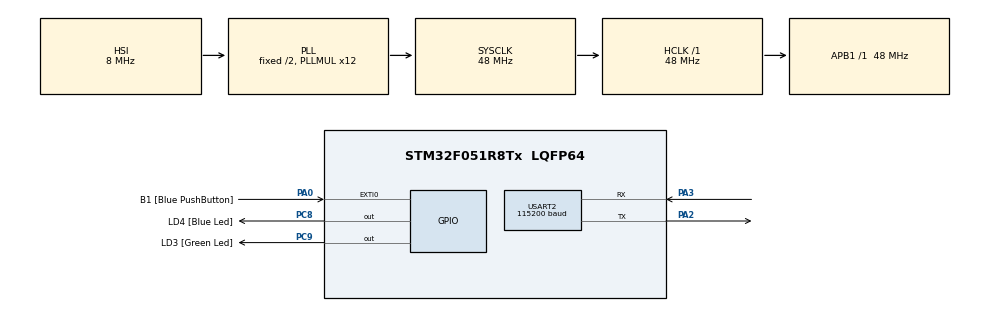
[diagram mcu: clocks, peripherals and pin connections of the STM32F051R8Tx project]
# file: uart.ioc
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Mcu.Family=STM32F0
Mcu.Name=STM32F051R8Tx
Mcu.Package=LQFP64
NVIC.USART2_IRQn=true\:0\:0\:false\:false\:true\:true
PA0.GPIO_Label=B1 [Blue PushButton]
PA0.GPIO_ModeDefaultEXTI=GPIO_MODE_EVT_RISING
PA0.Signal=GPXTI0
PA13.GPIO_Label=SWDIO
PA13.Mode=Serial_Wire
PA13.Signal=SYS_SWDIO
PA14.GPIO_Label=SWCLK
PA14.Mode=Serial_Wire
PA14.Signal=SYS_SWCLK
PA2.Mode=Asynchronous
PA2.Signal=USART2_TX
PA3.Mode=Asynchronous
PA3.Signal=USART2_RX
PC8.GPIO_Label=LD4 [Blue Led]
PC8.Signal=GPIO_Output
PC9.GPIO_Label=LD3 [Green Led]
PC9.Signal=GPIO_Output
ProjectManager.HeapSize=0x200
ProjectManager.StackSize=0x400
ProjectManager.TargetToolchain=SW4STM32
RCC.AHBFreq_Value=48000000
RCC.APB1Freq_Value=48000000
RCC.APB1TimFreq_Value=48000000
RCC.HCLKFreq_Value=48000000
RCC.PLLMUL=RCC_PLL_MUL12
RCC.SYSCLKFreq_VALUE=48000000
RCC.SYSCLKSource=RCC_SYSCLKSOURCE_PLLCLK
USART2.BaudRate=115200
USART2.VirtualMode-Asynchronous=VM_ASYNC
board=STM32F0DISCOVERY

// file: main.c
/**
 ******************************************************************************
 * @file           : main.c
 * @brief          : Main program body
 ******************************************************************************
 ** This notice applies to any and all portions of this file
 * that are not between comment pairs USER CODE BEGIN and
 * USER CODE END. Other portions of this file, whether
 * inserted by the user or by software development tools
 * are owned by their respective copyright owners.
 *
 * COPYRIGHT(c) 2018 STMicroelectronics
 *
 * Redistribution and use in source and binary forms, with or without modification,
 * are permitted provided that the following conditions are met:
 *   1. Redistributions of source code must retain the above copyright notice,
 *      this list of conditions and the following disclaimer.
 *   2. Redistributions in binary form must reproduce the above copyright notice,
 *      this list of conditions and the following disclaimer in the documentation
 *      and/or other materials provided with the distribution.
 *   3. Neither the name of STMicroelectronics nor the names of its contributors
 *      may be used to endorse or promote products derived from this software
 *      without specific prior written permission.
 *
 * THIS SOFTWARE IS PROVIDED BY THE COPYRIGHT HOLDERS AND CONTRIBUTORS "AS IS"
 * AND ANY EXPRESS OR IMPLIED WARRANTIES, INCLUDING, BUT NOT LIMITED TO, THE
 * IMPLIED WARRANTIES OF MERCHANTABILITY AND FITNESS FOR A PARTICULAR PURPOSE ARE
 * DISCLAIMED. IN NO EVENT SHALL THE COPYRIGHT HOLDER OR CONTRIBUTORS BE LIABLE
 * FOR ANY DIRECT, INDIRECT, INCIDENTAL, SPECIAL, EXEMPLARY, OR CONSEQUENTIAL
 * DAMAGES (INCLUDING, BUT NOT LIMITED TO, PROCUREMENT OF SUBSTITUTE GOODS OR
 * SERVICES; LOSS OF USE, DATA, OR PROFITS; OR BUSINESS INTERRUPTION) HOWEVER
 * CAUSED AND ON ANY THEORY OF LIABILITY, WHETHER IN CONTRACT, STRICT LIABILITY,
 * OR TORT (INCLUDING NEGLIGENCE OR OTHERWISE) ARISING IN ANY WAY OUT OF THE USE
 * OF THIS SOFTWARE, EVEN IF ADVISED OF THE POSSIBILITY OF SUCH DAMAGE.
 *
 ******************************************************************************
 */
#include "main.h"
#include "stm32f0xx_hal.h"
#include "usart.h"
#include "gpio.h"

/* USER CODE BEGIN Includes */
#include <string.h>
#include <stdio.h>
/* USER CODE END Includes */

/* USER CODE BEGIN PV */
/* Private variables ---------------------------------------------------------*/
char buffer[100];
int len;
char result_buffer[100];
char Rx_indx, Rx_data[2], Rx_Buffer[100], Transfer_cplt;
char cal_en[] = "\nCalculator Mode Enabled.";
char enter_num[] = "\nEnter a number: ";
char op[] = "Specify an operator(+,-,*,/,c); c to clear: ";
volatile int tx_flag;
int valid_op = 0;
int reset = 1;
volatile int total = 0;
volatile int operand = 0;
int zero_error = 0;

/* USER CODE END PV */

void SystemClock_Config(void);

/* USER CODE BEGIN PFP */
/* Private function prototypes -----------------------------------------------*/

/* USER CODE END PFP */

int main(void)
{
	/* USER CODE BEGIN 1 */
	int operator = 0;
	/* USER CODE END 1 */

	/* MCU Configuration----------------------------------------------------------*/

	/* Reset of all peripherals, Initializes the Flash interface and the Systick. */
	HAL_Init();

	/* Configure the system clock */
	SystemClock_Config();

	/* Initialize all configured peripherals */
	MX_GPIO_Init();
	MX_USART2_UART_Init();
	/* USER CODE BEGIN 2 */
	__HAL_UART_ENABLE_IT(&huart2, UART_IT_TC);
	__HAL_UART_ENABLE_IT(&huart2, UART_IT_RXNE);
	/* USER CODE END 2 */

	/* Infinite loop */
	/* USER CODE BEGIN WHILE */

	while (1)
	{
		if(reset == 1) {
			reset = 0;
			tx_flag = 1;
			valid_op = 0;
			total = 0;
			HAL_UART_Transmit_IT(&huart2, cal_en, sizeof(cal_en));
			while(tx_flag);
			total = num_wait();
		}
		valid_op = 0;
		while(!valid_op && reset != 1) {
			op_wait();
			operator = analyze_op(Rx_Buffer);
			if(valid_op && reset == 0) {
				operand = num_wait();
				result(operator, operand);
				if(zero_error == 1) {
					zero_error = 0;
					zero_e();
				}
				else {
					print_result();
				}
			}
		}
		//analyze_op(Rx_Buffer);
	}
}
/* USER CODE END WHILE */

/* USER CODE BEGIN 3 */
int analyze_op(char buffer[]) {
	int operator = 0;
	valid_op = 1;
	if(buffer[0] == 'c') {
		reset = 1;
		operator = 0;
	}
	else if(buffer[0] == '+') {
		operator = 1;
	}
	else if(buffer[0] == '-') {
		operator = 2;
	}
	else if(buffer[0] == '*'){
		operator = 3;
	}
	else if(buffer[0] == '/'){
		operator = 4;
	}
	else {
		valid_op = 0;

	}
	return operator;
}

void result(int operator, int operand) {
	if(operator == 1) {
		total = total + operand;
	}
	if(operator == 2) {
		total = total - operand;
	}
	if(operator == 3) {
		total = total * operand;
	}
	if(operator == 4) {
		if(operand == 0) {
			zero_error = 1;
		}
		else
			total = total / operand;
	}
}
int num_wait() {
	tx_flag = 1;
	Transfer_cplt = 0;
	HAL_UART_Transmit_IT(&huart2, enter_num, sizeof(enter_num));
	while(tx_flag);
	while(!Transfer_cplt);
	return atoi(Rx_Buffer);
}

void op_wait() {
	tx_flag = 1;
	Transfer_cplt = 0;
	HAL_UART_Transmit_IT(&huart2, op, sizeof(op));
	while(tx_flag);
	while(!Transfer_cplt);
}

void zero_e() {
	tx_flag = 1;
	HAL_UART_Transmit_IT(&huart2, "Error, Cant divide by zero\n", sizeof("Error, Cant divide by zero\n"));
	while(tx_flag);
}

void print_result() {
	tx_flag = 1;
	HAL_UART_Transmit_IT(&huart2, "Result: ", sizeof("Result: "));
	while(tx_flag);
	tx_flag = 1;
	sprintf(result_buffer, "Result: %d\n", total);
	//HAL_UART_Transmit_IT(&huart2, itoa(total), sizeof(itoa(total)));
	HAL_UART_Transmit_IT(&huart2, result_buffer, sizeof(result_buffer));
	while(tx_flag);
}
/* USER CODE END 3 */

void SystemClock_Config(void)
{

	RCC_OscInitTypeDef RCC_OscInitStruct;
	RCC_ClkInitTypeDef RCC_ClkInitStruct;

	/**Initializes the CPU, AHB and APB busses clocks
	 */
	RCC_OscInitStruct.OscillatorType = RCC_OSCILLATORTYPE_HSI;
	RCC_OscInitStruct.HSIState = RCC_HSI_ON;
	RCC_OscInitStruct.HSICalibrationValue = 16;
	RCC_OscInitStruct.PLL.PLLState = RCC_PLL_ON;
	RCC_OscInitStruct.PLL.PLLSource = RCC_PLLSOURCE_HSI;
	RCC_OscInitStruct.PLL.PLLMUL = RCC_PLL_MUL12;
	RCC_OscInitStruct.PLL.PREDIV = RCC_PREDIV_DIV1;
	if (HAL_RCC_OscConfig(&RCC_OscInitStruct) != HAL_OK)
	{
		_Error_Handler(__FILE__, __LINE__);
	}

	/**Initializes the CPU, AHB and APB busses clocks
	 */
	RCC_ClkInitStruct.ClockType = RCC_CLOCKTYPE_HCLK|RCC_CLOCKTYPE_SYSCLK
			|RCC_CLOCKTYPE_PCLK1;
	RCC_ClkInitStruct.SYSCLKSource = RCC_SYSCLKSOURCE_PLLCLK;
	RCC_ClkInitStruct.AHBCLKDivider = RCC_SYSCLK_DIV1;
	RCC_ClkInitStruct.APB1CLKDivider = RCC_HCLK_DIV1;

	if (HAL_RCC_ClockConfig(&RCC_ClkInitStruct, FLASH_LATENCY_1) != HAL_OK)
	{
		_Error_Handler(__FILE__, __LINE__);
	}

	/**Configure the Systick interrupt time
	 */
	HAL_SYSTICK_Config(HAL_RCC_GetHCLKFreq()/1000);

	/**Configure the Systick
	 */
	HAL_SYSTICK_CLKSourceConfig(SYSTICK_CLKSOURCE_HCLK);

	/* SysTick_IRQn interrupt configuration */
	HAL_NVIC_SetPriority(SysTick_IRQn, 0, 0);
}

/* USER CODE BEGIN 4 */

//Interrupt callback routine

/* USER CODE END 4 */

void _Error_Handler(char *file, int line)
{
	while(1)
	{
	}
}

/************************ (C) COPYRIGHT STMicroelectronics *****END OF FILE****/
